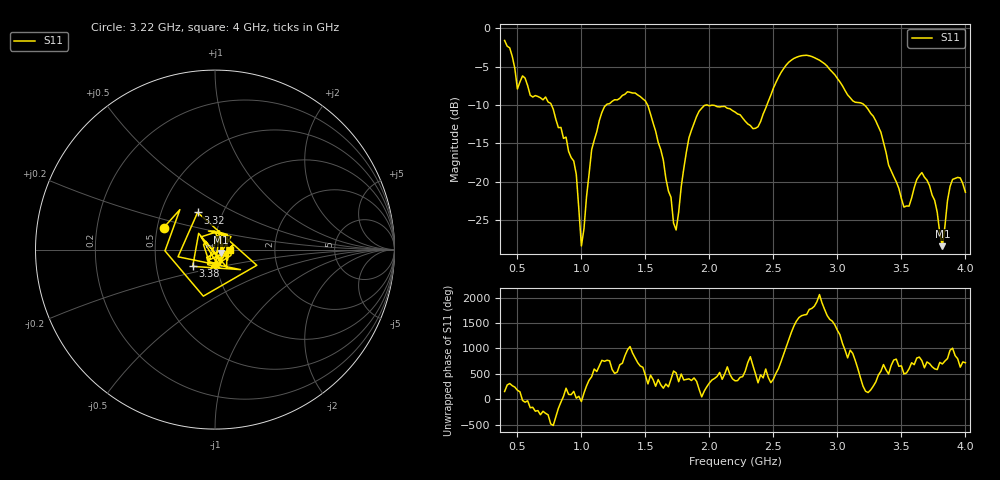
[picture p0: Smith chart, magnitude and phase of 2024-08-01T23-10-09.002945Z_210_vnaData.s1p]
!Created with skrf (http://scikit-rf.org).
# Hz S RI R 50.0
!freq ReS11 ImS11
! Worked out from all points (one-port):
!   181 points, 400 MHz to 4 GHz, reference 50 ohm
!   lowest |S11| = -28.4 dB at 3.82 GHz (marker M1), VSWR 1.08, Z = 53.5 - j1.81 ohm
!   |S11| at or under -10 dB: 1.517 GHz to 1.976 GHz (459.3 MHz wide, 26.3 % of centre); 1.983 GHz to 2.45 GHz (466.9 MHz wide, 21.1 % of centre); 3.21 GHz to end of sweep (the widest 3 of 4)
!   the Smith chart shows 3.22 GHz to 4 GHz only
!   S11 on the Smith chart (normalised r, x): 3.22 GHz: 0.54, +0.15; 3.32 GHz: 0.76, +0.33; 3.38 GHz: 0.77, -0.15; 4 GHz: 1.19, -0.01
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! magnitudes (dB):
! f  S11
! 400 MHz  -1.6
! 500 MHz  -7.9
! 720 MHz  -9.0
! 860 MHz  -14.4
! 960 MHz  -19.0
! 1 GHz  -28.4
! 1.08 GHz  -15.8
! 1.18 GHz  -10.2
! 1.3 GHz  -9.1
! 1.52 GHz  -10.1
! 1.72 GHz  -25.4
! 1.76 GHz  -24.0
! 1.84 GHz  -14.3
! 1.92 GHz  -10.8
! 2.2 GHz  -10.9
! 2.38 GHz  -12.8
! 2.66 GHz  -3.9
! 2.9 GHz  -4.6
! 3.1 GHz  -9.1
! 3.22 GHz  -10.2
! 3.32 GHz  -12.8
! 3.38 GHz  -16.2
! 3.56 GHz  -23.2
! 3.66 GHz  -18.8
! 3.76 GHz  -22.4
! 3.82 GHz  -28.4
! 3.9 GHz  -19.7
! 4 GHz  -21.4
